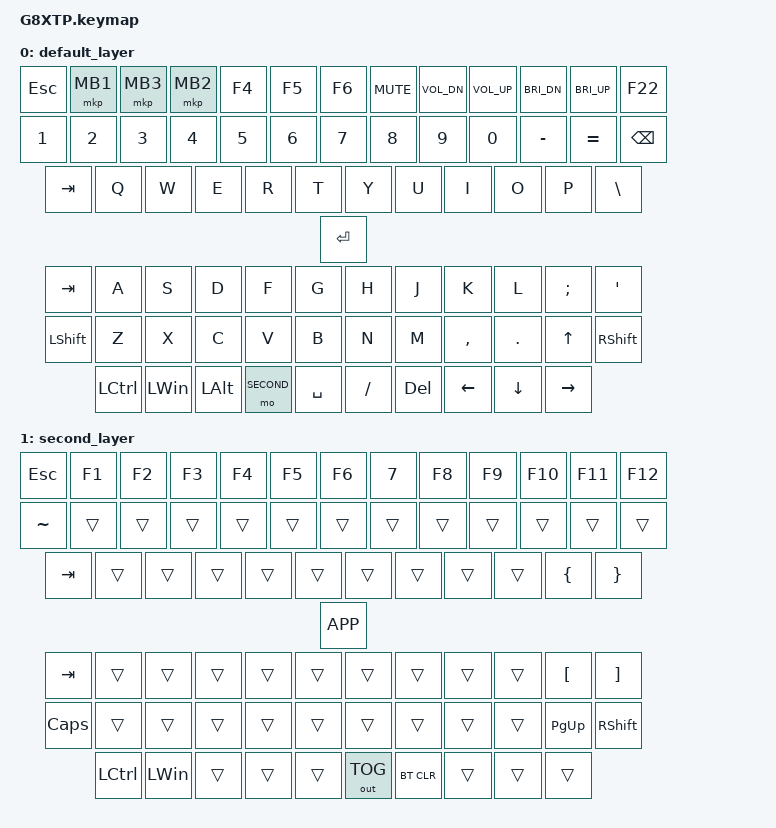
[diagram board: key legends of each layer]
#include <behaviors.dtsi>
#include <dt-bindings/zmk/keys.h>
#include <dt-bindings/zmk/outputs.h>
#include <dt-bindings/zmk/bt.h>
#include <dt-bindings/zmk/mouse.h>


#define DEFAULT 0
#define SECOND 1

/ {
    keymap {
        compatible = "zmk,keymap";

        default_layer {
            bindings = <
                &kp ESC	&mkp MB1	&mkp MB3	&mkp MB2	&kp F4	&kp F5	&kp F6	&kp C_MUTE	&kp C_VOL_DN &kp C_VOL_UP &kp C_BRI_DN &kp C_BRI_UP &kp F22
                &kp N1	&kp N2	&kp N3	&kp N4	&kp N5	&kp N6	&kp N7	&kp N8	&kp N9	&kp N0	&kp MINUS	&kp EQUAL	&kp BSPC
                &kp TAB	&kp Q	&kp W	&kp E	&kp R	&kp T	&kp Y	&kp U	&kp I	&kp O	&kp P	&kp BSLH	
                                                                                                                       &kp ENTER
                &kp TAB	&kp A	&kp S	&kp D	&kp F	&kp G	&kp H	&kp J	&kp K	&kp L	&kp SEMI	&kp SQT	
                &kp LSHFT	&kp Z	&kp X	&kp C	&kp V	&kp B	&kp N	&kp M	&kp COMMA	&kp DOT	&kp UP	&kp RSHFT	
                &kp LCTRL	&kp LWIN	&kp LALT	&mo SECOND        &kp SPACE       &kp FSLH	&kp DEL	&kp LEFT	&kp DOWN	&kp RIGHT

            >;

        };
        
        second_layer {
            bindings = <
                &kp ESC	&kp F1	&kp F2  &kp F3	&kp F4	&kp F5	&kp F6	&kp 7 &kp F8 &kp F9 &kp F10 &kp F11  &kp F12
                &kp TILDE	&trans	&trans	&trans	&trans	&trans	&trans	&trans	&trans	&trans	&trans	&trans	&trans
                &kp TAB	&trans	&trans	&trans	&trans	&trans	&trans	&trans	&trans	&trans	&kp LBRC	&kp RBRC	
                                                                                                                       &kp K_APP
                &kp TAB	&trans	&trans	&trans	&trans	&trans	&trans	&trans	&trans	&trans	&kp LBKT	&kp RBKT	
                &kp CAPS	&trans	&trans	&trans	&trans	&trans	&trans	&trans	&trans	&trans	&kp PAGE_UP	&kp RSHFT	
                &kp LCTRL	&kp LWIN	&trans	&trans        &trans       &out OUT_TOG	&bt BT_CLR	&trans	&trans	&trans

            >;

        };
    };
};

